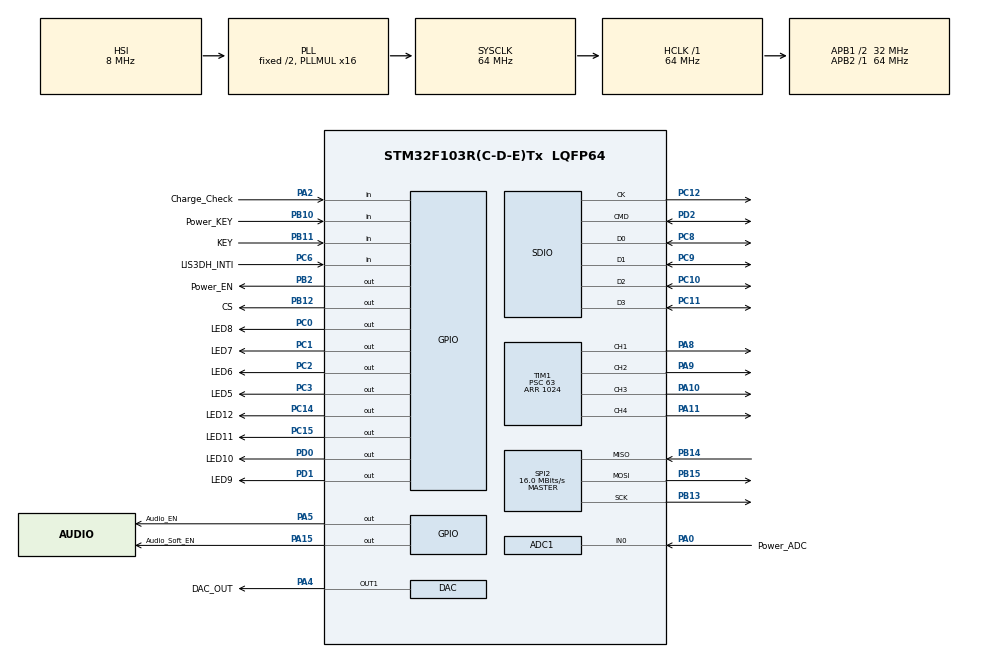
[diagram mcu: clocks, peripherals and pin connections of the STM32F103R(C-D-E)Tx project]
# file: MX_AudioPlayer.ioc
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ADC1.Channel-0\#ChannelRegularConversion=ADC_CHANNEL_0
ADC1.ExternalTrigConv=ADC_EXTERNALTRIGCONV_T1_CC1
ADC1.NbrOfConversionFlag=1
ADC1.Rank-0\#ChannelRegularConversion=1
ADC1.SamplingTime-0\#ChannelRegularConversion=ADC_SAMPLETIME_71CYCLES_5
ADC1.master=1
DAC.DAC_Trigger=DAC_TRIGGER_T2_TRGO
Dma.DAC_CH1.0.Direction=DMA_MEMORY_TO_PERIPH
Dma.DAC_CH1.0.Instance=DMA2_Channel3
Dma.DAC_CH1.0.MemDataAlignment=DMA_MDATAALIGN_HALFWORD
Dma.DAC_CH1.0.MemInc=DMA_MINC_ENABLE
Dma.DAC_CH1.0.Mode=DMA_NORMAL
Dma.DAC_CH1.0.PeriphDataAlignment=DMA_PDATAALIGN_HALFWORD
Dma.DAC_CH1.0.PeriphInc=DMA_PINC_DISABLE
Dma.DAC_CH1.0.Priority=DMA_PRIORITY_LOW
Dma.Request0=DAC_CH1
FATFS._CODE_PAGE=437
FATFS._MAX_LFN=30
FATFS._USE_LFN=2
FREERTOS.BinarySemaphores01=DMA_FLAG
FREERTOS.Queues01=pWAV,3,uint32_t,NULL;SIG_GPIO,4,uint8_t,NULL;SIG_PLAYWAV,4,uint8_t,NULL;SIG_LED,4,uint32_t,NULL
FREERTOS.Tasks01=defaultTask,0,128,Handle_System,As weak;GPIO,-3,128,Handle_GPIO,As weak;WAV_CTL,3,400,WAVHandle,As weak;DAC_CTL,2,128,DACHandle,As weak;x3DList_CTL,0,256,x3DListHandle,As weak;LED_CTL,-2,128,LEDHandle,As weak
FREERTOS.Timers01=TriggerFreezTimer,TriggerFreez,osTimerPeriodic,As weak
FREERTOS.configCHECK_FOR_STACK_OVERFLOW=1
FREERTOS.configTIMER_QUEUE_LENGTH=2
FREERTOS.configTOTAL_HEAP_SIZE=8192
FREERTOS.configUSE_TIMERS=1
Mcu.Family=STM32F1
Mcu.Name=STM32F103R(C-D-E)Tx
Mcu.Package=LQFP64
NVIC.DMA2_Channel3_IRQn=true\:5\:0\:false\:false\:true\:true
NVIC.PriorityGroup=NVIC_PRIORITYGROUP_4
NVIC.TIM8_UP_IRQn=true\:0\:0\:false\:false\:true\:false
NVIC.TimeBase=TIM8_UP_IRQn
NVIC.TimeBaseIP=TIM8
PA0-WKUP.GPIO_Label=Power_ADC
PA0-WKUP.Signal=ADCx_IN0
PA10.Signal=S_TIM1_CH3
PA11.Signal=S_TIM1_CH4
PA13.Mode=Serial_Wire
PA13.Signal=SYS_JTMS-SWDIO
PA14.Mode=Serial_Wire
PA14.Signal=SYS_JTCK-SWCLK
PA15.GPIO_Label=Audio_Soft_EN
PA15.GPIO_ModeDefaultOutputPP=GPIO_MODE_OUTPUT_PP
PA15.Signal=GPIO_Output
PA2.GPIO_Label=Charge_Check
PA2.GPIO_PuPd=GPIO_NOPULL
PA2.Signal=GPIO_Input
PA4.GPIO_Label=DAC_OUT
PA4.Signal=COMP_DAC1_group
PA5.GPIO_Label=Audio_EN
PA5.Signal=GPIO_Output
PA8.Signal=S_TIM1_CH1
PA9.Signal=S_TIM1_CH2
PB10.GPIO_Label=Power_KEY
PB10.GPIO_PuPd=GPIO_PULLDOWN
PB10.Signal=GPIO_Input
PB11.GPIO_Label=KEY
PB11.GPIO_PuPd=GPIO_PULLUP
PB11.Signal=GPIO_Input
PB12.GPIO_Label=CS
PB12.Signal=GPIO_Output
PB13.Mode=Full_Duplex_Master
PB13.Signal=SPI2_SCK
PB14.Mode=Full_Duplex_Master
PB14.Signal=SPI2_MISO
PB15.Mode=Full_Duplex_Master
PB15.Signal=SPI2_MOSI
PB2.GPIO_Label=Power_EN
PB2.Signal=GPIO_Output
PB3.Mode=JTAG_4_pins
PB3.Signal=SYS_JTDO-TRACESWO
PC0.GPIO_Label=LED8
PC0.Signal=GPIO_Output
PC1.GPIO_Label=LED7
PC1.Signal=GPIO_Output
PC10.Mode=SD_4_bits_Wide_bus
PC10.Signal=SDIO_D2
PC11.Mode=SD_4_bits_Wide_bus
PC11.Signal=SDIO_D3
PC12.Mode=SD_4_bits_Wide_bus
PC12.Signal=SDIO_CK
PC14-OSC32_IN.GPIO_Label=LED12
PC14-OSC32_IN.Signal=GPIO_Output
PC15-OSC32_OUT.GPIO_Label=LED11
PC15-OSC32_OUT.Signal=GPIO_Output
PC2.GPIO_Label=LED6
PC2.Signal=GPIO_Output
PC3.GPIO_Label=LED5
PC3.Signal=GPIO_Output
PC6.GPIO_Label=LIS3DH_INTI
PC6.GPIO_PuPd=GPIO_PULLUP
PC6.Signal=GPIO_Input
PC8.Mode=SD_4_bits_Wide_bus
PC8.Signal=SDIO_D0
PC9.Mode=SD_4_bits_Wide_bus
PC9.Signal=SDIO_D1
PD0-OSC_IN.GPIO_Label=LED10
PD0-OSC_IN.Signal=GPIO_Output
PD1-OSC_OUT.GPIO_Label=LED9
PD1-OSC_OUT.Signal=GPIO_Output
PD2.Mode=SD_4_bits_Wide_bus
PD2.Signal=SDIO_CMD
ProjectManager.HeapSize=0x200
ProjectManager.StackSize=0x600
ProjectManager.TargetToolchain=MDK-ARM V5
RCC.ADCPresc=RCC_ADCPCLK2_DIV6
RCC.AHBFreq_Value=64000000
RCC.APB1CLKDivider=RCC_HCLK_DIV2
RCC.APB1Freq_Value=32000000
RCC.APB1TimFreq_Value=64000000
RCC.APB2Freq_Value=64000000
RCC.APB2TimFreq_Value=64000000
RCC.HCLKFreq_Value=64000000
RCC.PLLMUL=RCC_PLL_MUL16
RCC.RCC_MCOSource=RCC_MCO1SOURCE_HSI
RCC.SYSCLKFreq_VALUE=64000000
RCC.SYSCLKSource=RCC_SYSCLKSOURCE_PLLCLK
RCC.USBFreq_Value=64000000
SDIO.BusWide=SDIO_BUS_WIDE_1B
SDIO.ClockDiv=1
SDIO.WideMode=SDIO_BUS_WIDE_4B
SH.ADCx_IN0.0=ADC1_IN0,IN0
SH.COMP_DAC1_group.0=DAC_OUT1,DAC_OUT1
SH.S_TIM1_CH1.0=TIM1_CH1,PWM Generation1 CH1
SH.S_TIM1_CH2.0=TIM1_CH2,PWM Generation2 CH2
SH.S_TIM1_CH3.0=TIM1_CH3,PWM Generation3 CH3
SH.S_TIM1_CH4.0=TIM1_CH4,PWM Generation4 CH4
SPI2.CalculateBaudRate=16.0 MBits/s
SPI2.Mode=SPI_MODE_MASTER
TIM1.Channel-PWM\ Generation2\ CH2=TIM_CHANNEL_2
TIM1.Channel-PWM\ Generation3\ CH3=TIM_CHANNEL_3
TIM1.Channel-PWM\ Generation4\ CH4=TIM_CHANNEL_4
TIM1.Period=1024
TIM1.Prescaler=63
TIM2.Period=2908
TIM2.Prescaler=0
TIM2.TIM_MasterOutputTrigger=TIM_TRGO_UPDATE
VP_FATFS_VS_SDIO.Mode=SDIO
VP_FREERTOS_VS_ENABLE.Mode=Enabled
VP_SYS_VS_tim8.Mode=TIM8
VP_TIM1_VS_ClockSourceINT.Mode=Internal
VP_TIM1_VS_ClockSourceITR.Mode=TriggerSource_ITR0
VP_TIM2_VS_ClockSourceINT.Mode=Internal
VP_TIM2_VS_ClockSourceITR.Mode=TriggerSource_ITR0
VP_TIM2_VS_ControllerModeReset.Mode=Reset Mode
board=MX_AudioPlayer

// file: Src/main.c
/**
  ******************************************************************************
  * File Name          : main.c
  * Description        : Main program body
  ******************************************************************************
  *
  * Copyright (c) 2017 STMicroelectronics International N.V.
  * All rights reserved.
  *
  * Redistribution and use in source and binary forms, with or without
  * modification, are permitted, provided that the following conditions are met:
  *
  * 1. Redistribution of source code must retain the above copyright notice,
  *    this list of conditions and the following disclaimer.
  * 2. Redistributions in binary form must reproduce the above copyright notice,
  *    this list of conditions and the following disclaimer in the documentation
  *    and/or other materials provided with the distribution.
  * 3. Neither the name of STMicroelectronics nor the names of other
  *    contributors to this software may be used to endorse or promote products
  *    derived from this software without specific written permission.
  * 4. This software, including modifications and/or derivative works of this
  *    software, must execute solely and exclusively on microcontroller or
  *    microprocessor devices manufactured by or for STMicroelectronics.
  * 5. Redistribution and use of this software other than as permitted under
  *    this license is void and will automatically terminate your rights under
  *    this license.
  *
  * THIS SOFTWARE IS PROVIDED BY STMICROELECTRONICS AND CONTRIBUTORS "AS IS"
  * AND ANY EXPRESS, IMPLIED OR STATUTORY WARRANTIES, INCLUDING, BUT NOT
  * LIMITED TO, THE IMPLIED WARRANTIES OF MERCHANTABILITY, FITNESS FOR A
  * PARTICULAR PURPOSE AND NON-INFRINGEMENT OF THIRD PARTY INTELLECTUAL PROPERTY
  * RIGHTS ARE DISCLAIMED TO THE FULLEST EXTENT PERMITTED BY LAW. IN NO EVENT
  * SHALL STMICROELECTRONICS OR CONTRIBUTORS BE LIABLE FOR ANY DIRECT, INDIRECT,
  * INCIDENTAL, SPECIAL, EXEMPLARY, OR CONSEQUENTIAL DAMAGES (INCLUDING, BUT NOT
  * LIMITED TO, PROCUREMENT OF SUBSTITUTE GOODS OR SERVICES; LOSS OF USE, DATA,
  * OR PROFITS; OR BUSINESS INTERRUPTION) HOWEVER CAUSED AND ON ANY THEORY OF
  * LIABILITY, WHETHER IN CONTRACT, STRICT LIABILITY, OR TORT (INCLUDING
  * NEGLIGENCE OR OTHERWISE) ARISING IN ANY WAY OUT OF THE USE OF THIS SOFTWARE,
  * EVEN IF ADVISED OF THE POSSIBILITY OF SUCH DAMAGE.
  *
  ******************************************************************************
  */
#include "main.h"
#include "stm32f1xx_hal.h"
#include "cmsis_os.h"
#include "adc.h"
#include "dac.h"
#include "dma.h"
#include "fatfs.h"
#include "sdio.h"
#include "spi.h"
#include "tim.h"
#include "gpio.h"

/* USER CODE BEGIN Includes */
#include "LED.h"
#include "Lis3D.h"
#include "AF.h"
#include "AP.h"
#include "string.h"
#include "tx_cfg.h"
/* USER CODE END Includes */

/* USER CODE BEGIN PV */
/* Private variables ---------------------------------------------------------*/

/* USER CODE END PV */

void SystemClock_Config(void);
void Error_Handler(void);
void MX_FREERTOS_Init(void);

/* USER CODE BEGIN PFP */
/* Private function prototypes -----------------------------------------------*/

/* USER CODE END PFP */

/* USER CODE BEGIN 0 */
FATFS fs;
FRESULT res;
struct config SYS_CFG;

/* LED public var */
Simple_LED SL[nBank][256];
Simple_LED_T SLT[nBank];
Simple_LED_STEP SLS[nBank];
RGBL RGB_PROFILE[16][2];

uint32_t i;

/* Lis3dh */
Lis3dConfig lis3d;

/**
 * @brief: check SETTING file's parameter
 * @Retvl: 0-OK / 1-Error
 * @Note : some parameter will be changed without Error return
 */
static uint8_t parameter_check(struct config p) {
  // Vol
  if (SYS_CFG.Vol > 3) {
    SYS_CFG.Vol = 3;
  }

  // Tpon
  if (SYS_CFG.Tpon < 800) {
    SYS_CFG.Tpon = 800;
  }

  // Tin & Ts_switch
  if (SYS_CFG.Tin >= SYS_CFG.TEtrigger ||
      SYS_CFG.Ts_switch >= SYS_CFG.TEtrigger)
      return 1;

  if (SYS_CFG.TLcolor > SYS_CFG.TEtrigger ||
      SYS_CFG.TLcolor > SYS_CFG.Tin)
      return 1;

  if (SYS_CFG.Ldeep > SYS_CFG.Lbright)
    SYS_CFG.Ldeep = 0;

//  if (SYS_CFG.Sl > SYS_CFG.Sh ||
//      SYS_CFG.Cl > SYS_CFG.Ch)
//      return 1;
//  if (SYS_CFG.Sl > 1023||
//      SYS_CFG.Sh > 1023||
//      SYS_CFG.Cl > 1023||
//      SYS_CFG.Ch > 1023)
//      return 1;
  return 0;
}
/* USER CODE END 0 */

int main(void)
{

  /* USER CODE BEGIN 1 */
	extern uint16_t static_wav[22001];
  /* USER CODE END 1 */

  /* MCU Configuration----------------------------------------------------------*/

  /* Reset of all peripherals, Initializes the Flash interface and the Systick. */
  HAL_Init();

  /* Configure the system clock */
  SystemClock_Config();

  /* Initialize all configured peripherals */
  MX_GPIO_Init();
  MX_DMA_Init();
  MX_ADC1_Init();
  MX_DAC_Init();
  MX_SDIO_SD_Init();
  MX_SPI2_Init();
  MX_TIM2_Init();
  MX_TIM1_Init();

  /* USER CODE BEGIN 2 */
  Lis3d_Init();
	HAL_GPIO_WritePin(GPIOC, GPIO_PIN_7, GPIO_PIN_SET);
  MX_FATFS_Init();
  res = f_mount(&fs, (const TCHAR*)"0", 1);

	// SD card check
	if (res != FR_OK)
	{
		HAL_GPIO_WritePin(Power_EN_GPIO_Port, Power_EN_Pin, GPIO_PIN_SET);
		HAL_TIM_Base_Start(&htim2);
		HAL_GPIO_WritePin(Audio_EN_GPIO_Port, Audio_EN_Pin, GPIO_PIN_SET);
		HAL_GPIO_WritePin(Audio_Soft_EN_GPIO_Port, Audio_Soft_EN_Pin,
		GPIO_PIN_SET);
		HAL_DAC_Start_DMA(&hdac, DAC_CHANNEL_1, (uint32_t*)static_wav,
		22001, DAC_ALIGN_12B_R);
		HAL_Delay(1000);
		while (HAL_GPIO_ReadPin(Power_KEY_GPIO_Port, Power_KEY_Pin)){
		;
		}
		HAL_GPIO_WritePin(Power_EN_GPIO_Port, Power_EN_Pin, GPIO_PIN_RESET);
		HAL_Delay(5000);
	}
	TX_CFG(&SYS_CFG,RGB_PROFILE);

	// System Poweron
	HAL_Delay(SYS_CFG.Tpon);
  HAL_GPIO_WritePin(Power_EN_GPIO_Port, Power_EN_Pin, GPIO_PIN_SET);

	// Read Accent structure;
	{
		uint8_t Bank_num = 0;
		FIL     file;
		char    path[20];
		char    para_buf[20];
		char*   spt;
		for (Bank_num = 0; Bank_num < nBank; Bank_num++) {
			sprintf(path, "0:/Bank%d/Accent.txt", Bank_num + 1);
			res = f_open(&file, path, FA_READ);
			if (res != FR_OK) break;
			//Read Parameter
			{
				uint8_t cnt = 0;
				spt = f_gets(para_buf, sizeof(para_buf), &file);
				if (spt==0) {res = FR_INVALID_OBJECT; break;}
				sscanf(spt, "T=%d", &SLT[Bank_num]);
				while (1) {

					uint32_t para;
					f_gets(para_buf, sizeof(para_buf), &file);
					if (spt==0 || *spt==0){
						SLS[Bank_num] = cnt + 1;
						break;
					}
					sscanf(spt, "%ud", &para);
          SL[Bank_num][cnt].LED8 = para%10; para /= 10;
          SL[Bank_num][cnt].LED7 = para%10; para /= 10;
          SL[Bank_num][cnt].LED6 = para%10; para /= 10;
          SL[Bank_num][cnt].LED5 = para%10; para /= 10;
          SL[Bank_num][cnt].LED4 = para%10; para /= 10;
          SL[Bank_num][cnt].LED3 = para%10; para /= 10;
          SL[Bank_num][cnt].LED2 = para%10; para /= 10;
          SL[Bank_num][cnt].LED1 = para%10; para /= 10;

					cnt++;
				}
			}
			f_close(&file);
		}

	}

  lis3d.MD = SYS_CFG.MD;
  lis3d.MT = SYS_CFG.MT;
  lis3d.CD = SYS_CFG.CD;
  lis3d.CT = SYS_CFG.CT;
  lis3d.CL = SYS_CFG.CL;
  lis3d.CW = SYS_CFG.CW;
	Lis3d_Set((Lis3dConfig*)&lis3d);
	// Parameter check
	if (parameter_check(SYS_CFG) || res != FR_OK)
	{
		HAL_GPIO_WritePin(Power_EN_GPIO_Port, Power_EN_Pin, GPIO_PIN_SET);
		HAL_TIM_Base_Start(&htim2);
		HAL_GPIO_WritePin(Audio_EN_GPIO_Port, Audio_EN_Pin, GPIO_PIN_SET);
		HAL_GPIO_WritePin(Audio_Soft_EN_GPIO_Port, Audio_Soft_EN_Pin,
		GPIO_PIN_SET);
		HAL_DAC_Start_DMA(&hdac, DAC_CHANNEL_1, (uint32_t*)static_wav,
		2001, DAC_ALIGN_12B_R);
		HAL_Delay(200);
		HAL_DAC_Stop_DMA(&hdac, DAC_CHANNEL_1);
		HAL_Delay(200);
		HAL_DAC_Start_DMA(&hdac, DAC_CHANNEL_1, (uint32_t*)static_wav,
		2001, DAC_ALIGN_12B_R);
		HAL_Delay(200);
		while (HAL_GPIO_ReadPin(Power_KEY_GPIO_Port, Power_KEY_Pin)){
		;
		}
		HAL_GPIO_WritePin(Power_EN_GPIO_Port, Power_EN_Pin, GPIO_PIN_RESET);
		HAL_Delay(5000);
	}

	// while (HAL_GPIO_ReadPin(Power_KEY_GPIO_Port, Power_KEY_Pin)){
	// 	;
	// }

  /* USER CODE END 2 */

  /* Call init function for freertos objects (in freertos.c) */
  MX_FREERTOS_Init();

  /* Start scheduler */
  osKernelStart();

  /* We should never get here as control is now taken by the scheduler */

  /* Infinite loop */
  while (1)
  {

  }

}

/** System Clock Configuration
*/
void SystemClock_Config(void)
{

  RCC_OscInitTypeDef RCC_OscInitStruct;
  RCC_ClkInitTypeDef RCC_ClkInitStruct;
  RCC_PeriphCLKInitTypeDef PeriphClkInit;

    /**Initializes the CPU, AHB and APB busses clocks
    */
  RCC_OscInitStruct.OscillatorType = RCC_OSCILLATORTYPE_HSI;
  RCC_OscInitStruct.HSIState = RCC_HSI_ON;
  RCC_OscInitStruct.HSICalibrationValue = 16;
  RCC_OscInitStruct.PLL.PLLState = RCC_PLL_ON;
  RCC_OscInitStruct.PLL.PLLSource = RCC_PLLSOURCE_HSI_DIV2;
  RCC_OscInitStruct.PLL.PLLMUL = RCC_PLL_MUL16;
  if (HAL_RCC_OscConfig(&RCC_OscInitStruct) != HAL_OK)
  {
    Error_Handler();
  }

    /**Initializes the CPU, AHB and APB busses clocks
    */
  RCC_ClkInitStruct.ClockType = RCC_CLOCKTYPE_HCLK|RCC_CLOCKTYPE_SYSCLK
                              |RCC_CLOCKTYPE_PCLK1|RCC_CLOCKTYPE_PCLK2;
  RCC_ClkInitStruct.SYSCLKSource = RCC_SYSCLKSOURCE_PLLCLK;
  RCC_ClkInitStruct.AHBCLKDivider = RCC_SYSCLK_DIV1;
  RCC_ClkInitStruct.APB1CLKDivider = RCC_HCLK_DIV2;
  RCC_ClkInitStruct.APB2CLKDivider = RCC_HCLK_DIV1;

  if (HAL_RCC_ClockConfig(&RCC_ClkInitStruct, FLASH_LATENCY_2) != HAL_OK)
  {
    Error_Handler();
  }

  PeriphClkInit.PeriphClockSelection = RCC_PERIPHCLK_ADC;
  PeriphClkInit.AdcClockSelection = RCC_ADCPCLK2_DIV6;
  if (HAL_RCCEx_PeriphCLKConfig(&PeriphClkInit) != HAL_OK)
  {
    Error_Handler();
  }

    /**Configure the Systick interrupt time
    */
  HAL_SYSTICK_Config(HAL_RCC_GetHCLKFreq()/1000);

    /**Configure the Systick
    */
  HAL_SYSTICK_CLKSourceConfig(SYSTICK_CLKSOURCE_HCLK);

  /* SysTick_IRQn interrupt configuration */
  HAL_NVIC_SetPriority(SysTick_IRQn, 15, 0);
}

void HAL_TIM_PeriodElapsedCallback(TIM_HandleTypeDef *htim)
{
  if (htim->Instance == TIM8) {
    HAL_IncTick();
  }
}

void Error_Handler(void)
{
  while(1)
  {
  }
}

/************************ (C) COPYRIGHT STMicroelectronics *****END OF FILE****/

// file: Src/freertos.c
/**
  ******************************************************************************
  * File Name          : freertos.c
  * Description        : Code for freertos applications
  ******************************************************************************
  *
  * Copyright (c) 2017 STMicroelectronics International N.V.
  * All rights reserved.
  *
  * Redistribution and use in source and binary forms, with or without
  * modification, are permitted, provided that the following conditions are met:
  *
  * 1. Redistribution of source code must retain the above copyright notice,
  *    this list of conditions and the following disclaimer.
  * 2. Redistributions in binary form must reproduce the above copyright notice,
  *    this list of conditions and the following disclaimer in the documentation
  *    and/or other materials provided with the distribution.
  * 3. Neither the name of STMicroelectronics nor the names of other
  *    contributors to this software may be used to endorse or promote products
  *    derived from this software without specific written permission.
  * 4. This software, including modifications and/or derivative works of this
  *    software, must execute solely and exclusively on microcontroller or
  *    microprocessor devices manufactured by or for STMicroelectronics.
  * 5. Redistribution and use of this software other than as permitted under
  *    this license is void and will automatically terminate your rights under
  *    this license.
  *
  * THIS SOFTWARE IS PROVIDED BY STMICROELECTRONICS AND CONTRIBUTORS "AS IS"
  * AND ANY EXPRESS, IMPLIED OR STATUTORY WARRANTIES, INCLUDING, BUT NOT
  * LIMITED TO, THE IMPLIED WARRANTIES OF MERCHANTABILITY, FITNESS FOR A
  * PARTICULAR PURPOSE AND NON-INFRINGEMENT OF THIRD PARTY INTELLECTUAL PROPERTY
  * RIGHTS ARE DISCLAIMED TO THE FULLEST EXTENT PERMITTED BY LAW. IN NO EVENT
  * SHALL STMICROELECTRONICS OR CONTRIBUTORS BE LIABLE FOR ANY DIRECT, INDIRECT,
  * INCIDENTAL, SPECIAL, EXEMPLARY, OR CONSEQUENTIAL DAMAGES (INCLUDING, BUT NOT
  * LIMITED TO, PROCUREMENT OF SUBSTITUTE GOODS OR SERVICES; LOSS OF USE, DATA,
  * OR PROFITS; OR BUSINESS INTERRUPTION) HOWEVER CAUSED AND ON ANY THEORY OF
  * LIABILITY, WHETHER IN CONTRACT, STRICT LIABILITY, OR TORT (INCLUDING
  * NEGLIGENCE OR OTHERWISE) ARISING IN ANY WAY OUT OF THE USE OF THIS SOFTWARE,
  * EVEN IF ADVISED OF THE POSSIBILITY OF SUCH DAMAGE.
  *
  ******************************************************************************
  */

#include "FreeRTOS.h"
#include "task.h"
#include "cmsis_os.h"

/* USER CODE BEGIN Includes */
#include "stdio.h"
/* USER CODE END Includes */

osThreadId defaultTaskHandle;
osThreadId GPIOHandle;
osThreadId WAV_CTLHandle;
osThreadId DAC_CTLHandle;
osThreadId x3DList_CTLHandle;
osThreadId LED_CTLHandle;
osMessageQId pWAVHandle;
osMessageQId SIG_GPIOHandle;
osMessageQId SIG_PLAYWAVHandle;
osMessageQId SIG_LEDHandle;
osTimerId TriggerFreezTimerHandle;
osSemaphoreId DMA_FLAGHandle;

void Handle_System(void const * argument);
void Handle_GPIO(void const * argument);
void WAVHandle(void const * argument);
void DACHandle(void const * argument);
void x3DListHandle(void const * argument);
void LEDHandle(void const * argument);
void TriggerFreez(void const * argument);

extern void MX_FATFS_Init(void);
void MX_FREERTOS_Init(void); /* (MISRA C 2004 rule 8.1) */

/* Hook prototypes */
void vApplicationStackOverflowHook(xTaskHandle xTask, signed char *pcTaskName);

/* USER CODE BEGIN 4 */
void vApplicationStackOverflowHook(xTaskHandle xTask, signed char *pcTaskName)
{
   /* Run time stack overflow checking is performed if
   configCHECK_FOR_STACK_OVERFLOW is defined to 1 or 2. This hook function is
   called if a stack overflow is detected. */
	printf("Handle OVERFLOW:%s\n", pcTaskName);
}
/* USER CODE END 4 */

/* Init FreeRTOS */

void MX_FREERTOS_Init(void) {

  /* Create the semaphores(s) */
  /* definition and creation of DMA_FLAG */
  osSemaphoreDef(DMA_FLAG);
  DMA_FLAGHandle = osSemaphoreCreate(osSemaphore(DMA_FLAG), 1);

  /* Create the timer(s) */
  /* definition and creation of TriggerFreezTimer */
  osTimerDef(TriggerFreezTimer, TriggerFreez);
  TriggerFreezTimerHandle = osTimerCreate(osTimer(TriggerFreezTimer), osTimerPeriodic, NULL);

  /* Create the thread(s) */
  /* definition and creation of defaultTask */
  osThreadDef(defaultTask, Handle_System, osPriorityNormal, 0, 128);
  defaultTaskHandle = osThreadCreate(osThread(defaultTask), NULL);

  /* definition and creation of GPIO */
  osThreadDef(GPIO, Handle_GPIO, osPriorityIdle, 0, 128);
  GPIOHandle = osThreadCreate(osThread(GPIO), NULL);

  /* definition and creation of WAV_CTL */
  osThreadDef(WAV_CTL, WAVHandle, osPriorityRealtime, 0, 400);
  WAV_CTLHandle = osThreadCreate(osThread(WAV_CTL), NULL);

  /* definition and creation of DAC_CTL */
  osThreadDef(DAC_CTL, DACHandle, osPriorityHigh, 0, 128);
  DAC_CTLHandle = osThreadCreate(osThread(DAC_CTL), NULL);

  /* definition and creation of x3DList_CTL */
  osThreadDef(x3DList_CTL, x3DListHandle, osPriorityNormal, 0, 256);
  x3DList_CTLHandle = osThreadCreate(osThread(x3DList_CTL), NULL);

  /* definition and creation of LED_CTL */
  osThreadDef(LED_CTL, LEDHandle, osPriorityLow, 0, 128);
  LED_CTLHandle = osThreadCreate(osThread(LED_CTL), NULL);

  /* Create the queue(s) */
  /* definition and creation of pWAV */
  osMessageQDef(pWAV, 3, uint32_t);
  pWAVHandle = osMessageCreate(osMessageQ(pWAV), NULL);

  /* definition and creation of SIG_GPIO */
  osMessageQDef(SIG_GPIO, 4, uint8_t);
  SIG_GPIOHandle = osMessageCreate(osMessageQ(SIG_GPIO), NULL);

  /* definition and creation of SIG_PLAYWAV */
  osMessageQDef(SIG_PLAYWAV, 4, uint8_t);
  SIG_PLAYWAVHandle = osMessageCreate(osMessageQ(SIG_PLAYWAV), NULL);

  /* definition and creation of SIG_LED */
  osMessageQDef(SIG_LED, 4, uint32_t);
  SIG_LEDHandle = osMessageCreate(osMessageQ(SIG_LED), NULL);

}

/* Handle_System function */
__weak void Handle_System(void const * argument)
{
  /* init code for FATFS */
  MX_FATFS_Init();

  for(;;)
  {
    osDelay(1);
  }
}

/* Handle_GPIO function */
__weak void Handle_GPIO(void const * argument)
{
  for(;;)
  {
    osDelay(1);
  }
}

/* WAVHandle function */
__weak void WAVHandle(void const * argument)
{
  for(;;)
  {
    osDelay(1);
  }
}

/* DACHandle function */
__weak void DACHandle(void const * argument)
{
  for(;;)
  {
    osDelay(1);
  }
}

/* x3DListHandle function */
__weak void x3DListHandle(void const * argument)
{
  for(;;)
  {
    osDelay(1);
  }
}

/* LEDHandle function */
__weak void LEDHandle(void const * argument)
{
  for(;;)
  {
    osDelay(1);
  }
}

/* TriggerFreez function */
__weak void TriggerFreez(void const * argument)
{
}

/************************ (C) COPYRIGHT STMicroelectronics *****END OF FILE****/
